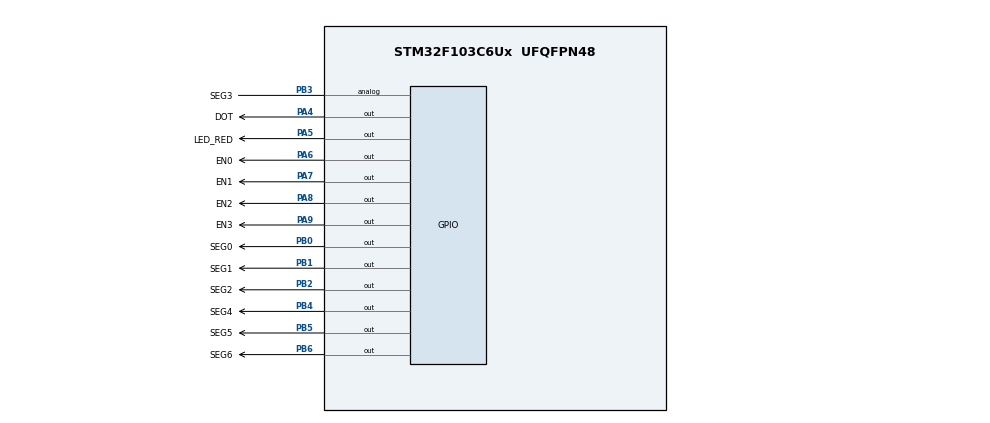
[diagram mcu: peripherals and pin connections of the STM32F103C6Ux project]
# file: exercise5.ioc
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Mcu.Family=STM32F1
Mcu.Name=STM32F103C6Ux
Mcu.Package=UFQFPN48
NVIC.PriorityGroup=NVIC_PRIORITYGROUP_4
NVIC.TIM2_IRQn=true\:0\:0\:false\:false\:true\:true\:true
PA4.GPIO_Label=DOT
PA4.Signal=GPIO_Output
PA5.GPIO_Label=LED_RED
PA5.Signal=GPIO_Output
PA6.GPIO_Label=EN0
PA6.Signal=GPIO_Output
PA7.GPIO_Label=EN1
PA7.Signal=GPIO_Output
PA8.GPIO_Label=EN2
PA8.Signal=GPIO_Output
PA9.GPIO_Label=EN3
PA9.Signal=GPIO_Output
PB0.GPIO_Label=SEG0
PB0.Signal=GPIO_Output
PB1.GPIO_Label=SEG1
PB1.Signal=GPIO_Output
PB2.GPIO_Label=SEG2
PB2.Signal=GPIO_Output
PB3.GPIO_Label=SEG3
PB3.Signal=GPIO_Analog
PB4.GPIO_Label=SEG4
PB4.Signal=GPIO_Output
PB5.GPIO_Label=SEG5
PB5.Signal=GPIO_Output
PB6.GPIO_Label=SEG6
PB6.Signal=GPIO_Output
ProjectManager.HeapSize=0x200
ProjectManager.StackSize=0x400
ProjectManager.TargetToolchain=STM32CubeIDE
RCC.APB1Freq_Value=8000000
RCC.APB2Freq_Value=8000000
TIM2.Period=9
TIM2.Prescaler=7999
VP_SYS_VS_ND.Mode=No_Debug
VP_TIM2_VS_ClockSourceINT.Mode=Internal
board=custom

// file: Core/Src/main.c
/* USER CODE BEGIN Header */
/**
  ******************************************************************************
  * @file           : main.c
  * @brief          : Main program body
  ******************************************************************************
  * @attention
  *
  * <h2><center>&copy; Copyright (c) 2022 STMicroelectronics.
  * All rights reserved.</center></h2>
  *
  * This software component is licensed by ST under BSD 3-Clause license,
  * the "License"; You may not use this file except in compliance with the
  * License. You may obtain a copy of the License at:
  *                        opensource.org/licenses/BSD-3-Clause
  *
  ******************************************************************************
  */
/* USER CODE END Header */
#include "main.h"

/* USER CODE BEGIN Includes */
#include "display7SEG.h"
/* USER CODE END Includes */

TIM_HandleTypeDef htim2;

void SystemClock_Config(void);
static void MX_GPIO_Init(void);
static void MX_TIM2_Init(void);

/* USER CODE BEGIN 0 */
int hour = 15 , minute = 8 , second = 58;
void updateClockBuffer();
/* USER CODE END 0 */

int main(void)
{

  /* MCU Configuration--------------------------------------------------------*/

  /* Reset of all peripherals, Initializes the Flash interface and the Systick. */
  HAL_Init();

  /* Configure the system clock */
  SystemClock_Config();

  /* Initialize all configured peripherals */
  MX_GPIO_Init();
  MX_TIM2_Init();
  /* USER CODE BEGIN 2 */
  HAL_TIM_Base_Start_IT(&htim2);
  /* USER CODE END 2 */

  /* Infinite loop */
  while (1)
  {
	  second++;
	  if(second >= 60){
		  second = 0 ;
		  minute++;
	  }
	  if(minute >= 60){
		  minute = 0;
		  hour++;
	  }
	  if(hour >= 24 ){
		  hour = 0;
	  }
	  updateClockBuffer();
	  HAL_Delay(1000);
  }
}

void SystemClock_Config(void)
{
  RCC_OscInitTypeDef RCC_OscInitStruct = {0};
  RCC_ClkInitTypeDef RCC_ClkInitStruct = {0};

  /** Initializes the RCC Oscillators according to the specified parameters
  * in the RCC_OscInitTypeDef structure.
  */
  RCC_OscInitStruct.OscillatorType = RCC_OSCILLATORTYPE_HSI;
  RCC_OscInitStruct.HSIState = RCC_HSI_ON;
  RCC_OscInitStruct.HSICalibrationValue = RCC_HSICALIBRATION_DEFAULT;
  RCC_OscInitStruct.PLL.PLLState = RCC_PLL_NONE;
  if (HAL_RCC_OscConfig(&RCC_OscInitStruct) != HAL_OK)
  {
    Error_Handler();
  }
  /** Initializes the CPU, AHB and APB buses clocks
  */
  RCC_ClkInitStruct.ClockType = RCC_CLOCKTYPE_HCLK|RCC_CLOCKTYPE_SYSCLK
                              |RCC_CLOCKTYPE_PCLK1|RCC_CLOCKTYPE_PCLK2;
  RCC_ClkInitStruct.SYSCLKSource = RCC_SYSCLKSOURCE_HSI;
  RCC_ClkInitStruct.AHBCLKDivider = RCC_SYSCLK_DIV1;
  RCC_ClkInitStruct.APB1CLKDivider = RCC_HCLK_DIV1;
  RCC_ClkInitStruct.APB2CLKDivider = RCC_HCLK_DIV1;

  if (HAL_RCC_ClockConfig(&RCC_ClkInitStruct, FLASH_LATENCY_0) != HAL_OK)
  {
    Error_Handler();
  }
}

static void MX_TIM2_Init(void)
{

  TIM_ClockConfigTypeDef sClockSourceConfig = {0};
  TIM_MasterConfigTypeDef sMasterConfig = {0};

  htim2.Instance = TIM2;
  htim2.Init.Prescaler = 7999;
  htim2.Init.CounterMode = TIM_COUNTERMODE_UP;
  htim2.Init.Period = 9;
  htim2.Init.ClockDivision = TIM_CLOCKDIVISION_DIV1;
  htim2.Init.AutoReloadPreload = TIM_AUTORELOAD_PRELOAD_DISABLE;
  if (HAL_TIM_Base_Init(&htim2) != HAL_OK)
  {
    Error_Handler();
  }
  sClockSourceConfig.ClockSource = TIM_CLOCKSOURCE_INTERNAL;
  if (HAL_TIM_ConfigClockSource(&htim2, &sClockSourceConfig) != HAL_OK)
  {
    Error_Handler();
  }
  sMasterConfig.MasterOutputTrigger = TIM_TRGO_RESET;
  sMasterConfig.MasterSlaveMode = TIM_MASTERSLAVEMODE_DISABLE;
  if (HAL_TIMEx_MasterConfigSynchronization(&htim2, &sMasterConfig) != HAL_OK)
  {
    Error_Handler();
  }

}

static void MX_GPIO_Init(void)
{
  GPIO_InitTypeDef GPIO_InitStruct = {0};

  /* GPIO Ports Clock Enable */
  __HAL_RCC_GPIOA_CLK_ENABLE();
  __HAL_RCC_GPIOB_CLK_ENABLE();

  /*Configure GPIO pin Output Level */
  HAL_GPIO_WritePin(GPIOA, DOT_Pin|LED_RED_Pin|EN0_Pin|EN1_Pin
                          |EN2_Pin|EN3_Pin, GPIO_PIN_RESET);

  /*Configure GPIO pin Output Level */
  HAL_GPIO_WritePin(GPIOB, SEG0_Pin|SEG1_Pin|SEG2_Pin|SEG3_Pin
                          |SEG4_Pin|SEG5_Pin|SEG6_Pin, GPIO_PIN_RESET);

  /*Configure GPIO pins : DOT_Pin LED_RED_Pin EN0_Pin EN1_Pin
                           EN2_Pin EN3_Pin */
  GPIO_InitStruct.Pin = DOT_Pin|LED_RED_Pin|EN0_Pin|EN1_Pin
                          |EN2_Pin|EN3_Pin;
  GPIO_InitStruct.Mode = GPIO_MODE_OUTPUT_PP;
  GPIO_InitStruct.Pull = GPIO_NOPULL;
  GPIO_InitStruct.Speed = GPIO_SPEED_FREQ_LOW;
  HAL_GPIO_Init(GPIOA, &GPIO_InitStruct);

  /*Configure GPIO pins : SEG0_Pin SEG1_Pin SEG2_Pin SEG3_Pin
                           SEG4_Pin SEG5_Pin SEG6_Pin */
  GPIO_InitStruct.Pin = SEG0_Pin|SEG1_Pin|SEG2_Pin|SEG3_Pin
                          |SEG4_Pin|SEG5_Pin|SEG6_Pin;
  GPIO_InitStruct.Mode = GPIO_MODE_OUTPUT_PP;
  GPIO_InitStruct.Pull = GPIO_NOPULL;
  GPIO_InitStruct.Speed = GPIO_SPEED_FREQ_LOW;
  HAL_GPIO_Init(GPIOB, &GPIO_InitStruct);

}

/* USER CODE BEGIN 4 */

int index_led = 0 ;
int led_buffer[4] = {1,2,3,4};
const int MAX_LED = 4 ;
void update7SEG(int index){
	switch (index) {
		case 0:
			display7SEG(led_buffer[index]);
			HAL_GPIO_WritePin(EN0_GPIO_Port, EN0_Pin, RESET) ;
			HAL_GPIO_WritePin(EN1_GPIO_Port, EN1_Pin, SET) ;
			HAL_GPIO_WritePin(EN2_GPIO_Port, EN2_Pin, SET) ;
			HAL_GPIO_WritePin(EN3_GPIO_Port, EN3_Pin, SET) ;
			break;
		case 1:
			display7SEG(led_buffer[index]);
			HAL_GPIO_WritePin(EN0_GPIO_Port, EN0_Pin, SET) ;
			HAL_GPIO_WritePin(EN1_GPIO_Port, EN1_Pin, RESET) ;
			HAL_GPIO_WritePin(EN2_GPIO_Port, EN2_Pin, SET) ;
			HAL_GPIO_WritePin(EN3_GPIO_Port, EN3_Pin, SET) ;
			break;
		case 2:
			display7SEG(led_buffer[index]);
			HAL_GPIO_WritePin(EN0_GPIO_Port, EN0_Pin, SET) ;
			HAL_GPIO_WritePin(EN1_GPIO_Port, EN1_Pin, SET) ;
			HAL_GPIO_WritePin(EN2_GPIO_Port, EN2_Pin, RESET) ;
			HAL_GPIO_WritePin(EN3_GPIO_Port, EN3_Pin, SET) ;
			break;
		case 3:
			display7SEG(led_buffer[index]);
			HAL_GPIO_WritePin(EN0_GPIO_Port, EN0_Pin, SET) ;
			HAL_GPIO_WritePin(EN1_GPIO_Port, EN1_Pin, SET) ;
			HAL_GPIO_WritePin(EN2_GPIO_Port, EN2_Pin, SET) ;
			HAL_GPIO_WritePin(EN3_GPIO_Port, EN3_Pin, RESET) ;
			break;
		default:
			break;
	}
}

int counter = 50;
int led = 100 ;
int status = 0 ;
int flag = 0 ;
void HAL_TIM_PeriodElapsedCallback ( TIM_HandleTypeDef * htim ){
	counter--;
	led--;
	if(counter <= 0){
		counter = 50 ;
		if(index_led >= MAX_LED ) index_led = 0 ;
		update7SEG(index_led++);
//		status = 1 - status ;
	}
	if(led <= 0){
		led = 100;
		HAL_GPIO_TogglePin(LED_RED_GPIO_Port, LED_RED_Pin);
		HAL_GPIO_TogglePin(DOT_GPIO_Port, DOT_Pin) ;
//		flag = 1 -flag ;
	}
}

void updateClockBuffer(){
// hour >=  10
// led[0] = 1
// led[1] = hour - 10
		if(hour >= 10){
			led_buffer[0] = hour / 10 ;
			led_buffer[1] = hour%10 ;
		}
// hour <  10
// led[0] = 0
// led[1] = hour
		else{
			led_buffer[0] = 0;
			led_buffer[1] = hour%10 ;
		}
// minute >=10
// led[2] = minute / 10
// led[3] = minute % 10
		if(minute >= 10){
				led_buffer[2] = minute / 10 ;
				led_buffer[3] = minute%10 ;
		}
// minute < 10
// led[2] = 0
// led[3] = minute
		else{
			led_buffer[2] = 0 ;
			led_buffer[3] = minute ;
		}
}
/* USER CODE END 4 */

void Error_Handler(void)
{
  __disable_irq();
  while (1)
  {
  }
}

/************************ (C) COPYRIGHT STMicroelectronics *****END OF FILE****/
